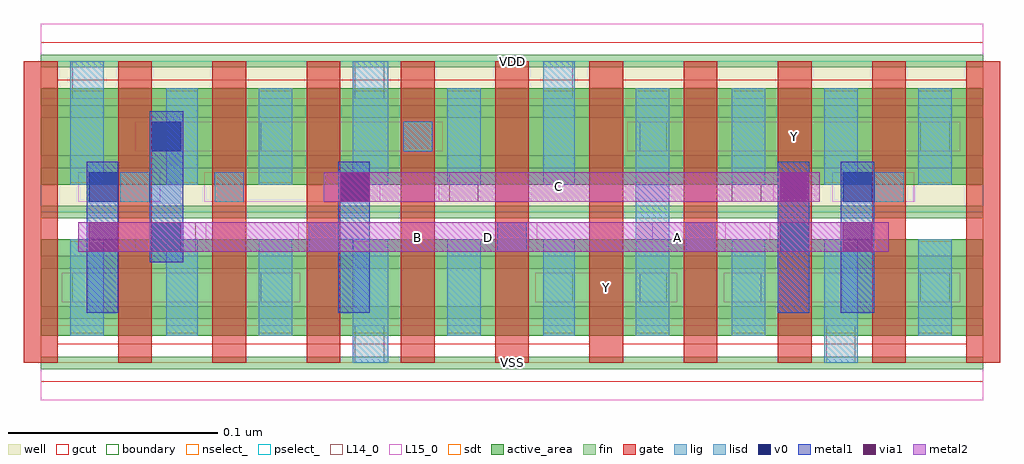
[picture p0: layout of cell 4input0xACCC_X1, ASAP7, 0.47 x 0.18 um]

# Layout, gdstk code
import gdstk
lib = gdstk.Library(unit=1e-6, precision=1e-09)
def R(c, l, rs):  # rectangles x0, y0, x1, y1
    for r in rs: c.add(gdstk.rectangle(r[:2], r[2:], *l))
def A(c, l, x, y, w, h, nx, ny, dx, dy):  # array of equal rectangles
    R(c, l, [(x+i*dx, y+j*dy, x+i*dx+w, y+j*dy+h) for i in range(nx) for j in range(ny)])
def P(c, l, *ps):  # polygons
    for p in ps: c.add(gdstk.Polygon(p, *l))
well = (1, 0)
fin = (2, 0)
gate = (7, 0)
gcut = (10, 0)
active_area = (11, 0)
nselect_ = (12, 0)
pselect_ = (13, 0)
L14_0 = (14, 0)
L15_0 = (15, 0)
lig = (16, 0)
lisd = (17, 0)
v0 = (18, 0)
metal1 = (19, 0)
metal2 = (20, 0)
via1 = (21, 0)
sdt = (88, 0)
boundary = (100, 0)

c_4input0xaccc_x1 = lib.new_cell('4input0xACCC_X1')
R(c_4input0xaccc_x1, well, [(0,0.072,0.45,0.144)])
A(c_4input0xaccc_x1, fin, 0, -0.003, 0.45, 0.006, 1, 7, 0, 0.024)
A(c_4input0xaccc_x1, gate, -0.008, 0, 0.016, 0.144, 11, 1, 0.045, 0)
P(c_4input0xaccc_x1, gcut, [(0,-0.009),(0,0),(-0.008,0),(-0.008,0.135),(0.008,0.135),(0.008,0.009),(0.262,0.009),(0.262,0.135),(0.278,0.135),(0.278,0.009),(0.442,0.009),(0.442,0.135),(-0.008,0.135),(-0.008,0.144),(0,0.144),(0,0.153),(0.45,0.153),(0.45,0.144),(0.458,0.144),(0.458,0),(0.45,0),(0.45,-0.009)])
R(c_4input0xaccc_x1, active_area, [(0,0.013,0.45,0.059), (0,0.085,0.45,0.131)])
R(c_4input0xaccc_x1, nselect_, [(0,0,0.45,0.072)])
R(c_4input0xaccc_x1, pselect_, [(0,0.072,0.45,0.144)])
A(c_4input0xaccc_x1, L14_0, 0.24, 0.029, 0.014, 0.014, 3, 1, 0.09, 0)
A(c_4input0xaccc_x1, L14_0, 0.128, 0.053, 0.014, 0.014, 3, 1, 0.09, 0)
R(c_4input0xaccc_x1, L14_0, [(0.15,0,0.164,0.018), (0.375,0,0.389,0.018), (0.015,0.029,0.03,0.043), (0.105,0.029,0.12,0.043), (0.286,0.029,0.299,0.043), (0.06,0.053,0.074,0.067), (0.353,0.053,0.367,0.067), (0.038,0.077,0.052,0.091), (0.083,0.077,0.097,0.091), (0.195,0.077,0.209,0.091), (0.33,0.077,0.344,0.091), (0.398,0.077,0.412,0.091), (0.105,0.101,0.12,0.115), (0.173,0.101,0.187,0.115), (0.286,0.101,0.299,0.115), (0.42,0.101,0.434,0.115), (0.015,0.126,0.03,0.144), (0.15,0.126,0.164,0.144), (0.24,0.126,0.254,0.144)])
R(c_4input0xaccc_x1, L15_0, [(0,-0.018,0.45,0.018), (0.01,0.029,0.124,0.043), (0.236,0.029,0.304,0.043), (0.326,0.029,0.439,0.043), (0.045,0.053,0.079,0.067), (0.123,0.053,0.237,0.067), (0.292,0.053,0.327,0.067), (0.348,0.053,0.382,0.067), (0.018,0.077,0.057,0.091), (0.078,0.077,0.162,0.091), (0.19,0.077,0.35,0.091), (0.378,0.077,0.417,0.091), (0.045,0.101,0.192,0.115), (0.28,0.101,0.439,0.115), (0,0.126,0.45,0.162)])
A(c_4input0xaccc_x1, lig, 0.128, 0.053, 0.014, 0.014, 3, 1, 0.09, 0)
R(c_4input0xaccc_x1, lig, [(0.353,0.053,0.367,0.067), (0.038,0.077,0.052,0.091), (0.083,0.077,0.097,0.091), (0.398,0.077,0.412,0.091), (0.173,0.101,0.187,0.115)])
A(c_4input0xaccc_x1, lisd, 0.014, 0.013, 0.016, 0.046, 3, 1, 0.09, 0)
R(c_4input0xaccc_x1, lisd, [(0.149,0,0.166,0.059), (0.374,0,0.39,0.059), (0.06,0.013,0.075,0.059), (0.24,0.013,0.255,0.059), (0.284,0.013,0.3,0.131), (0.33,0.013,0.346,0.059), (0.419,0.013,0.435,0.059), (0.014,0.085,0.03,0.144), (0.06,0.085,0.075,0.131), (0.104,0.085,0.12,0.131), (0.149,0.085,0.166,0.144), (0.194,0.085,0.21,0.131), (0.24,0.085,0.255,0.144), (0.33,0.085,0.346,0.131), (0.374,0.085,0.39,0.131), (0.419,0.085,0.435,0.131)])
R(c_4input0xaccc_x1, v0, [(0.053,0.053,0.067,0.067), (0.353,0.053,0.367,0.067), (0.023,0.077,0.037,0.091), (0.143,0.077,0.157,0.091), (0.383,0.077,0.397,0.091), (0.053,0.101,0.067,0.115)])
R(c_4input0xaccc_x1, metal1, [(0.022,0.024,0.037,0.096), (0.142,0.024,0.157,0.096), (0.352,0.024,0.367,0.096), (0.382,0.024,0.398,0.096), (0.052,0.048,0.068,0.12)])
R(c_4input0xaccc_x1, metal2, [(0.018,0.053,0.405,0.067), (0.135,0.077,0.372,0.091)])
R(c_4input0xaccc_x1, via1, [(0.023,0.053,0.037,0.067), (0.383,0.053,0.397,0.067), (0.143,0.077,0.157,0.091), (0.353,0.077,0.367,0.091)])
A(c_4input0xaccc_x1, sdt, 0.014, 0.014, 0.016, 0.044, 4, 2, 0.09, 0.072)
R(c_4input0xaccc_x1, sdt, [(0.06,0.014,0.075,0.058), (0.149,0.014,0.166,0.058), (0.24,0.014,0.255,0.058), (0.33,0.014,0.346,0.058), (0.374,0.014,0.39,0.058), (0.419,0.014,0.435,0.058), (0.06,0.086,0.075,0.13), (0.149,0.086,0.166,0.13), (0.24,0.086,0.255,0.13), (0.33,0.086,0.346,0.13), (0.374,0.086,0.39,0.13), (0.419,0.086,0.435,0.13)])
R(c_4input0xaccc_x1, boundary, [(0,0,0.45,0.144)])
c_4input0xaccc_x1.add(gdstk.Label('VSS', (0.225,0), layer=15, texttype=251))
c_4input0xaccc_x1.add(gdstk.Label('VDD', (0.225,0.144), layer=15, texttype=251))
c_4input0xaccc_x1.add(gdstk.Label('VSS', (0.225,0), layer=15, texttype=251))
c_4input0xaccc_x1.add(gdstk.Label('VDD', (0.225,0.144), layer=15, texttype=251))
c_4input0xaccc_x1.add(gdstk.Label('A', (0.304,0.06), layer=15, texttype=251))
c_4input0xaccc_x1.add(gdstk.Label('VSS', (0.225,0), layer=15, texttype=251))
c_4input0xaccc_x1.add(gdstk.Label('VDD', (0.225,0.144), layer=15, texttype=251))
c_4input0xaccc_x1.add(gdstk.Label('Y', (0.36,0.108), layer=15, texttype=251))
c_4input0xaccc_x1.add(gdstk.Label('Y', (0.27,0.036), layer=15, texttype=251))
c_4input0xaccc_x1.add(gdstk.Label('VSS', (0.225,0), layer=15, texttype=251))
c_4input0xaccc_x1.add(gdstk.Label('VDD', (0.225,0.144), layer=15, texttype=251))
c_4input0xaccc_x1.add(gdstk.Label('B', (0.18,0.06), layer=15, texttype=251))
c_4input0xaccc_x1.add(gdstk.Label('VSS', (0.225,0), layer=15, texttype=251))
c_4input0xaccc_x1.add(gdstk.Label('VDD', (0.225,0.144), layer=15, texttype=251))
c_4input0xaccc_x1.add(gdstk.Label('C', (0.247,0.084), layer=20, texttype=251))
c_4input0xaccc_x1.add(gdstk.Label('D', (0.214,0.06), layer=20, texttype=251))
c_4input0xaccc_x1.add(gdstk.Label('VSS', (0.225,0), layer=3, texttype=251))
c_4input0xaccc_x1.add(gdstk.Label('VSS', (0.225,0), layer=3, texttype=251))
c_4input0xaccc_x1.add(gdstk.Label('VSS', (0.225,0), layer=3, texttype=251))
c_4input0xaccc_x1.add(gdstk.Label('VSS', (0.225,0), layer=3, texttype=251))
c_4input0xaccc_x1.add(gdstk.Label('VSS', (0.225,0), layer=3, texttype=251))
c_4input0xaccc_x1.add(gdstk.Label('VDD', (0.225,0.144), layer=1, texttype=251))
c_4input0xaccc_x1.add(gdstk.Label('VDD', (0.225,0.144), layer=1, texttype=251))
c_4input0xaccc_x1.add(gdstk.Label('VDD', (0.225,0.144), layer=1, texttype=251))
c_4input0xaccc_x1.add(gdstk.Label('VDD', (0.225,0.144), layer=1, texttype=251))
c_4input0xaccc_x1.add(gdstk.Label('VDD', (0.225,0.144), layer=1, texttype=251))

lib.write_gds('4input0xACCC_X1.gds')
